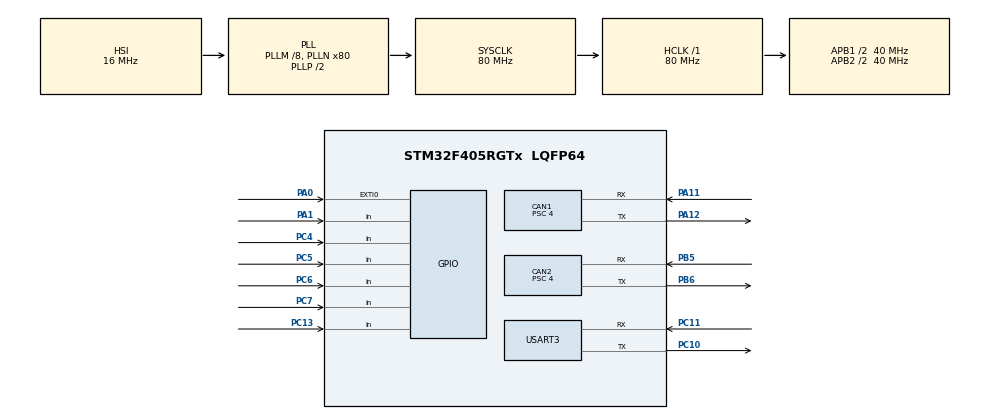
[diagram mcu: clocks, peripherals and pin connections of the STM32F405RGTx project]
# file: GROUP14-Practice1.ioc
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CAN1.BS1=CAN_BS1_11TQ
CAN1.BS2=CAN_BS2_4TQ
CAN1.CalculateBaudRate=625000
CAN1.CalculateTimeBit=1600
CAN1.CalculateTimeQuantum=100.0
CAN1.Prescaler=4
CAN2.BS1=CAN_BS1_15TQ
CAN2.BS2=CAN_BS2_4TQ
CAN2.CalculateBaudRate=500000
CAN2.CalculateTimeBit=2000
CAN2.CalculateTimeQuantum=100.0
CAN2.Prescaler=4
Mcu.Family=STM32F4
Mcu.Name=STM32F405RGTx
Mcu.Package=LQFP64
NVIC.CAN1_RX0_IRQn=true\:2\:0\:true\:false\:true\:true\:true\:true
NVIC.CAN2_RX0_IRQn=true\:2\:0\:true\:false\:true\:true\:true\:true
NVIC.EXTI0_IRQn=true\:1\:0\:true\:false\:true\:true\:true\:true
NVIC.PriorityGroup=NVIC_PRIORITYGROUP_4
NVIC.USART3_IRQn=true\:1\:0\:true\:false\:true\:true\:true\:true
PA0-WKUP.GPIO_ModeDefaultEXTI=GPIO_MODE_IT_FALLING
PA0-WKUP.GPIO_PuPd=GPIO_PULLUP
PA0-WKUP.Signal=GPXTI0
PA1.GPIO_PuPd=GPIO_PULLUP
PA1.Signal=GPIO_Input
PA11.Mode=CAN_Activate
PA11.Signal=CAN1_RX
PA12.Mode=CAN_Activate
PA12.Signal=CAN1_TX
PB5.Mode=CAN_Activate
PB5.Signal=CAN2_RX
PB6.Mode=CAN_Activate
PB6.Signal=CAN2_TX
PC10.Mode=Asynchronous
PC10.Signal=USART3_TX
PC11.Mode=Asynchronous
PC11.Signal=USART3_RX
PC13-ANTI_TAMP.GPIO_PuPd=GPIO_PULLUP
PC13-ANTI_TAMP.Signal=GPIO_Input
PC4.GPIO_PuPd=GPIO_PULLUP
PC4.Signal=GPIO_Input
PC5.GPIO_PuPd=GPIO_PULLUP
PC5.Signal=GPIO_Input
PC6.GPIO_PuPd=GPIO_PULLUP
PC6.Signal=GPIO_Input
PC7.GPIO_PuPd=GPIO_PULLUP
PC7.Signal=GPIO_Input
PH0-OSC_IN.Mode=HSE-External-Oscillator
PH0-OSC_IN.Signal=RCC_OSC_IN
PH1-OSC_OUT.Mode=HSE-External-Oscillator
PH1-OSC_OUT.Signal=RCC_OSC_OUT
ProjectManager.HeapSize=0x200
ProjectManager.StackSize=0x400
ProjectManager.TargetToolchain=STM32CubeIDE
RCC.48MHZClocksFreq_Value=40000000
RCC.AHBFreq_Value=80000000
RCC.APB1CLKDivider=RCC_HCLK_DIV2
RCC.APB1Freq_Value=40000000
RCC.APB1TimFreq_Value=80000000
RCC.APB2CLKDivider=RCC_HCLK_DIV2
RCC.APB2Freq_Value=40000000
RCC.APB2TimFreq_Value=80000000
RCC.CortexFreq_Value=80000000
RCC.HCLKFreq_Value=80000000
RCC.HSE_VALUE=8000000
RCC.HSI_VALUE=16000000
RCC.LSE_VALUE=32768
RCC.PLLM=8
RCC.PLLN=80
RCC.SYSCLKFreq_VALUE=80000000
RCC.SYSCLKSource=RCC_SYSCLKSOURCE_PLLCLK
RCC.VCOOutputFreq_Value=160000000
USART3.VirtualMode=VM_ASYNC
board=custom

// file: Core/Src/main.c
/* USER CODE BEGIN Header */
/**
  ******************************************************************************
  * @file           : main.c
  * @brief          : Main program body
  ******************************************************************************
  * @attention
  *
  * Copyright (c) 2023 STMicroelectronics.
  * All rights reserved.
  *
  * This software is licensed under terms that can be found in the LICENSE file
  * in the root directory of this software component.
  * If no LICENSE file comes with this software, it is provided AS-IS.
  *
  ******************************************************************************
  */
/* USER CODE END Header */
#include "main.h"

/* USER CODE BEGIN Includes */
#include "stm32f4xx_it.h"
/* USER CODE END Includes */

CAN_HandleTypeDef hcan1;
CAN_HandleTypeDef hcan2;

UART_HandleTypeDef huart3;

/* USER CODE BEGIN PV */
uint8_t uart3_receive;

CAN_HandleTypeDef hcan1;
CAN_HandleTypeDef hcan2;
CAN_TxHeaderTypeDef CAN1_pHeader;
CAN_RxHeaderTypeDef CAN1_pHeaderRx;
CAN_FilterTypeDef CAN1_sFilterConfig;
CAN_TxHeaderTypeDef CAN2_pHeader;
CAN_RxHeaderTypeDef CAN2_pHeaderRx;
CAN_FilterTypeDef CAN2_sFilterConfig;
uint32_t CAN1_pTxMailbox;
uint32_t CAN2_pTxMailbox;

uint16_t NumBytesReq = 0;
uint8_t  REQ_BUFFER  [4096];
uint8_t  REQ_1BYTE_DATA;

uint8_t CAN1_DATA_TX[8] = {0x00,0x00,0x00,0x00,0x00,0x00,0x00,0x00};
uint8_t CAN1_DATA_RX[8] = {0x00,0x00,0x00,0x00,0x00,0x00,0x00,0x00};
uint8_t CAN2_DATA_TX[8] = {0x00,0x00,0x00,0x00,0x00,0x00,0x00,0x00};
uint8_t CAN2_DATA_RX[8] = {0x00,0x00,0x00,0x00,0x00,0x00,0x00,0x00};

uint16_t Num_Consecutive_Tester;
uint8_t  Flg_Consecutive = 0;

uint8_t MsgCounter = 0;
uint8_t CRC_Wrong_Flag = 0;

unsigned int TimeStamp;
// maximum characters send out via UART is 30
char bufsend[30]="XXX: D1 D2 D3 D4 D5 D6 D7 D8  ";
/* USER CODE END PV */

void SystemClock_Config(void);
static void MX_GPIO_Init(void);
static void MX_CAN1_Init(void);
static void MX_CAN2_Init(void);
static void MX_USART3_UART_Init(void);
/* USER CODE BEGIN PFP */
void MX_CAN1_Setup();
void MX_CAN2_Setup();
void USART3_SendString(uint8_t *ch);
void PrintCANLog(uint16_t CANID, uint8_t * CAN_Frame);
void SID_22_Practice();
void SID_2E_Practice();
void SID_27_Practice();
void delay(uint16_t delay);
/* USER CODE END PFP */

/* USER CODE BEGIN 0 */
#include <stdio.h>
/* USER CODE END 0 */

int main(void)
{

  /* USER CODE BEGIN 1 */
	uint16_t i,j = 0;
	uint16_t Consecutive_Cntr = 0;
  /* USER CODE END 1 */

  /* MCU Configuration--------------------------------------------------------*/

  /* Reset of all peripherals, Initializes the Flash interface and the Systick. */
  HAL_Init();

  /* Configure the system clock */
  SystemClock_Config();

  /* Initialize all configured peripherals */
  MX_GPIO_Init();
  MX_CAN1_Init();
  MX_CAN2_Init();
  MX_USART3_UART_Init();
  /* USER CODE BEGIN 2 */
  MX_CAN1_Setup();
  MX_CAN2_Setup();
  __HAL_UART_ENABLE_IT(&huart3, UART_IT_RXNE);

  /* USER CODE END 2 */

  /* Infinite loop */
  /* USER CODE BEGIN WHILE */
  // Example Function to print can message via uart
//  PrintCANLog(CAN1_pHeader.StdId, &CAN1_DATA_TX[0]);

  while (1)
  {
    /* USER CODE END WHILE */

    /* USER CODE BEGIN 3 */

	CAN1_Send_Message();
	HAL_Delay(500);

	CAN2_Send_Message();
	HAL_Delay(4000);

    if(!BtnU) /*IG OFF->ON stimulation*/
    {
      delay(20);
      USART3_SendString((uint8_t *)"IG OFF ");
      int8_t crc_error_data[8] = {0xFF, 0xFF, 0xFF, 0xFF, 0xFF, 0xFF, 0xFF, 0xFF}; // Example incorrect data
      USART3_SendString((uint8_t *)"CAN1 TX: ");
      PrintCANLog(CAN1_pHeader.StdId, crc_error_data);
	  // Send message 0x12 with incorrect data
	  HAL_CAN_AddTxMessage(&hcan1, &CAN1_pHeader, crc_error_data, &CAN1_pTxMailbox);

      CheckForMissingMessage();
      while(!BtnU);
      MX_CAN1_Setup();
      MX_CAN2_Setup();
      USART3_SendString((uint8_t *)"-> IG ON \n");
      delay(20);
    }
  }

  memset(&REQ_BUFFER,0x00,4096);
  NumBytesReq = 0;

  /* USER CODE END 3 */
}

void SystemClock_Config(void)
{
  RCC_OscInitTypeDef RCC_OscInitStruct = {0};
  RCC_ClkInitTypeDef RCC_ClkInitStruct = {0};

  /** Configure the main internal regulator output voltage
  */
  __HAL_RCC_PWR_CLK_ENABLE();
  __HAL_PWR_VOLTAGESCALING_CONFIG(PWR_REGULATOR_VOLTAGE_SCALE1);

  /** Initializes the RCC Oscillators according to the specified parameters
  * in the RCC_OscInitTypeDef structure.
  */
  RCC_OscInitStruct.OscillatorType = RCC_OSCILLATORTYPE_HSI;
  RCC_OscInitStruct.HSIState = RCC_HSI_ON;
  RCC_OscInitStruct.HSICalibrationValue = RCC_HSICALIBRATION_DEFAULT;
  RCC_OscInitStruct.PLL.PLLState = RCC_PLL_ON;
  RCC_OscInitStruct.PLL.PLLSource = RCC_PLLSOURCE_HSI;
  RCC_OscInitStruct.PLL.PLLM = 8;
  RCC_OscInitStruct.PLL.PLLN = 80;
  RCC_OscInitStruct.PLL.PLLP = RCC_PLLP_DIV2;
  RCC_OscInitStruct.PLL.PLLQ = 4;
  if (HAL_RCC_OscConfig(&RCC_OscInitStruct) != HAL_OK)
  {
    Error_Handler();
  }

  /** Initializes the CPU, AHB and APB buses clocks
  */
  RCC_ClkInitStruct.ClockType = RCC_CLOCKTYPE_HCLK|RCC_CLOCKTYPE_SYSCLK
                              |RCC_CLOCKTYPE_PCLK1|RCC_CLOCKTYPE_PCLK2;
  RCC_ClkInitStruct.SYSCLKSource = RCC_SYSCLKSOURCE_PLLCLK;
  RCC_ClkInitStruct.AHBCLKDivider = RCC_SYSCLK_DIV1;
  RCC_ClkInitStruct.APB1CLKDivider = RCC_HCLK_DIV2;
  RCC_ClkInitStruct.APB2CLKDivider = RCC_HCLK_DIV2;

  if (HAL_RCC_ClockConfig(&RCC_ClkInitStruct, FLASH_LATENCY_2) != HAL_OK)
  {
    Error_Handler();
  }
}

static void MX_CAN1_Init(void)
{

  hcan1.Instance = CAN1;
  hcan1.Init.Prescaler = 21;
  hcan1.Init.Mode = CAN_MODE_NORMAL;
  hcan1.Init.SyncJumpWidth = CAN_SJW_1TQ;
  hcan1.Init.TimeSeg1 = CAN_BS1_12TQ;
  hcan1.Init.TimeSeg2 = CAN_BS2_4TQ;
  hcan1.Init.TimeTriggeredMode = DISABLE;
  hcan1.Init.AutoBusOff = DISABLE;
  hcan1.Init.AutoWakeUp = DISABLE;
  hcan1.Init.AutoRetransmission = DISABLE;
  hcan1.Init.ReceiveFifoLocked = DISABLE;
  hcan1.Init.TransmitFifoPriority = DISABLE;
  if (HAL_CAN_Init(&hcan1) != HAL_OK)
  {
    Error_Handler();
  }
  /* USER CODE BEGIN CAN1_Init 2 */
  //Config header CAN1
  CAN1_pHeader.DLC = 8;
  CAN1_pHeader.ExtId = 0;
  CAN1_pHeader.RTR = CAN_RTR_DATA;
  CAN1_pHeader.IDE = CAN_ID_STD;
  CAN1_pHeader.StdId = 0x012;
  CAN1_pHeader.TransmitGlobalTime = ENABLE;

  //Config filter CAN1
  CAN1_sFilterConfig.FilterActivation = CAN_FILTER_ENABLE;
  CAN1_sFilterConfig.FilterBank = 1;
  CAN1_sFilterConfig.FilterFIFOAssignment = CAN_FILTER_FIFO0;
  CAN1_sFilterConfig.FilterIdHigh = 0x012 << 5;
  CAN1_sFilterConfig.FilterIdLow = 0x0000;
  CAN1_sFilterConfig.FilterMaskIdHigh = 0;//0x0A2 << 5;
  CAN1_sFilterConfig.FilterMaskIdLow = 0x0000;
  CAN1_sFilterConfig.FilterScale = CAN_FILTERSCALE_32BIT;
  CAN1_sFilterConfig.FilterMode = CAN_FILTERMODE_IDMASK;
  CAN1_sFilterConfig.SlaveStartFilterBank = 14;
  HAL_CAN_ConfigFilter(&hcan1, &CAN1_sFilterConfig);

  /* USER CODE END CAN1_Init 2 */

}

static void MX_CAN2_Init(void)
{

	hcan2.Instance = CAN2;
	hcan2.Init.Prescaler = 21;
	hcan2.Init.Mode = CAN_MODE_NORMAL;
	hcan2.Init.SyncJumpWidth = CAN_SJW_1TQ;
	hcan2.Init.TimeSeg1 = CAN_BS1_12TQ;
	hcan2.Init.TimeSeg2 = CAN_BS2_4TQ;
	hcan2.Init.TimeTriggeredMode = DISABLE;
	hcan2.Init.AutoBusOff = DISABLE;
	hcan2.Init.AutoWakeUp = DISABLE;
	hcan2.Init.AutoRetransmission = DISABLE;
	hcan2.Init.ReceiveFifoLocked = DISABLE;
	hcan2.Init.TransmitFifoPriority = DISABLE;
  if (HAL_CAN_Init(&hcan2) != HAL_OK)
  {
    Error_Handler();
  }
  /* USER CODE BEGIN CAN2_Init 2 */
     //Config header CAN2
     CAN2_pHeader.DLC = 8;
     CAN2_pHeader.ExtId = 0;
     CAN2_pHeader.RTR = CAN_RTR_DATA;
     CAN2_pHeader.IDE = CAN_ID_STD;
     CAN2_pHeader.StdId = 0x0A2;
     CAN2_pHeader.TransmitGlobalTime = ENABLE;

     //Config filter CAN2
     CAN2_sFilterConfig.FilterActivation = CAN_FILTER_ENABLE;
     CAN2_sFilterConfig.FilterBank = 14;
     CAN2_sFilterConfig.FilterFIFOAssignment = CAN_FILTER_FIFO0;
     CAN2_sFilterConfig.FilterIdHigh = 0x0A2 << 5;
     CAN2_sFilterConfig.FilterIdLow = 0x0000;
     CAN2_sFilterConfig.FilterMaskIdHigh = 0;//0x012 << 5;
     CAN2_sFilterConfig.FilterMaskIdLow = 0x0000;
     CAN2_sFilterConfig.FilterScale = CAN_FILTERSCALE_32BIT;
     CAN2_sFilterConfig.FilterMode = CAN_FILTERMODE_IDMASK;
     CAN2_sFilterConfig.SlaveStartFilterBank = 14;
     HAL_CAN_ConfigFilter(&hcan2, &CAN2_sFilterConfig);

  /* USER CODE END CAN2_Init 2 */

}

static void MX_USART3_UART_Init(void)
{

  huart3.Instance = USART3;
  huart3.Init.BaudRate = 115200;
  huart3.Init.WordLength = UART_WORDLENGTH_8B;
  huart3.Init.StopBits = UART_STOPBITS_1;
  huart3.Init.Parity = UART_PARITY_NONE;
  huart3.Init.Mode = UART_MODE_TX_RX;
  huart3.Init.HwFlowCtl = UART_HWCONTROL_NONE;
  huart3.Init.OverSampling = UART_OVERSAMPLING_16;
  if (HAL_UART_Init(&huart3) != HAL_OK)
  {
    Error_Handler();
  }

}

static void MX_GPIO_Init(void)
{
  GPIO_InitTypeDef GPIO_InitStruct = {0};

  /* GPIO Ports Clock Enable */
  __HAL_RCC_GPIOC_CLK_ENABLE();
  __HAL_RCC_GPIOH_CLK_ENABLE();
  __HAL_RCC_GPIOA_CLK_ENABLE();
  __HAL_RCC_GPIOB_CLK_ENABLE();

  /*Configure GPIO pins : PC13 PC4 PC5 PC6
                           PC7 */
  GPIO_InitStruct.Pin = GPIO_PIN_13|GPIO_PIN_4|GPIO_PIN_5|GPIO_PIN_6
                          |GPIO_PIN_7;
  GPIO_InitStruct.Mode = GPIO_MODE_INPUT;
  GPIO_InitStruct.Pull = GPIO_PULLUP;
  HAL_GPIO_Init(GPIOC, &GPIO_InitStruct);

  /*Configure GPIO pin : PA0 */
  GPIO_InitStruct.Pin = GPIO_PIN_0;
  GPIO_InitStruct.Mode = GPIO_MODE_IT_FALLING;
  GPIO_InitStruct.Pull = GPIO_PULLUP;
  HAL_GPIO_Init(GPIOA, &GPIO_InitStruct);

  /*Configure GPIO pin : PA1 */
  GPIO_InitStruct.Pin = GPIO_PIN_1;
  GPIO_InitStruct.Mode = GPIO_MODE_INPUT;
  GPIO_InitStruct.Pull = GPIO_PULLUP;
  HAL_GPIO_Init(GPIOA, &GPIO_InitStruct);

  /* EXTI interrupt init*/
  HAL_NVIC_SetPriority(EXTI0_IRQn, 1, 0);
  HAL_NVIC_EnableIRQ(EXTI0_IRQn);

}

/* USER CODE BEGIN 4 */

void MX_CAN1_Setup()
{
	HAL_CAN_ConfigFilter(&hcan1, &CAN1_sFilterConfig);
	HAL_CAN_Start(&hcan1);
	HAL_CAN_ActivateNotification(&hcan1, CAN_IT_RX_FIFO0_MSG_PENDING);

}
void MX_CAN2_Setup()
{
	HAL_CAN_ConfigFilter(&hcan2, &CAN2_sFilterConfig);
	HAL_CAN_Start(&hcan2);
	HAL_CAN_ActivateNotification(&hcan2, CAN_IT_RX_FIFO0_MSG_PENDING);

}

void USART3_SendString(uint8_t *ch)
{
   while(*ch!=0)
   {
      HAL_UART_Transmit(&huart3, ch, 1,HAL_MAX_DELAY);
      ch++;
   }
}
void PrintCANLog(uint16_t CANID, uint8_t * CAN_Frame)
{
	uint16_t loopIndx = 0;
	char bufID[3] = "   ";
	char bufDat[2] = "  ";
	char bufTime [8]="        ";

	sprintf(bufTime,"%d",TimeStamp);
	USART3_SendString((uint8_t*)bufTime);
	USART3_SendString((uint8_t*)" ");

	sprintf(bufID,"%03X",CANID);
	for(loopIndx = 0; loopIndx < 3; loopIndx ++)
	{
		bufsend[loopIndx]  = bufID[loopIndx];
	}
	bufsend[3] = ':';
	bufsend[4] = ' ';

	for(loopIndx = 0; loopIndx < 8; loopIndx ++ )
	{
		sprintf(bufDat,"%02X",CAN_Frame[loopIndx]);
		bufsend[loopIndx*3 + 5] = bufDat[0];
		bufsend[loopIndx*3 + 6] = bufDat[1];
		bufsend[loopIndx*3 + 7] = ' ';
	}
	bufsend[29] = '\n';
	USART3_SendString((unsigned char*)bufsend);
}
void HAL_UART_RxCpltCallback(UART_HandleTypeDef *huart)
{
	REQ_BUFFER[NumBytesReq] = REQ_1BYTE_DATA;
	NumBytesReq++;
	//REQ_BUFFER[7] = NumBytesReq;
}
void delay(uint16_t delay)
{
	HAL_Delay(delay);
}

uint8_t crc8(uint8_t *data, uint8_t len) {
    uint8_t crc = 0xFF; //  First value of CRC-8 SAE J1850

    for (uint8_t i = 0; i < len; i++) {
        crc ^= data[i];
        for (uint8_t j = 0; j < 8; j++) {
            if (crc & 0x80) {
                crc = (crc << 1) ^ 0x1D;
            } else {
                crc <<= 1;
            }
        }
    }
    return crc;
}

void CAN1_Send_Message() {
    CAN1_DATA_TX[0] = 0x00;  // byte 0
    CAN1_DATA_TX[1] = 0x12;  // byte 1
    CAN1_DATA_TX[6] = MsgCounter & 0x0F;  // Message counter

    CAN1_DATA_TX[7] = crc8(CAN1_DATA_TX, 7); // check sum

    USART3_SendString((uint8_t *)"CAN1 TX: ");
    PrintCANLog(CAN1_pHeader.StdId, CAN1_DATA_TX);

    HAL_CAN_AddTxMessage(&hcan1, &CAN1_pHeader, CAN1_DATA_TX, &CAN1_pTxMailbox);

//    MsgCounter++;
}

void CAN2_Send_Message() {
    CAN2_DATA_TX[0] = 0x00;  //byte 0
    CAN2_DATA_TX[1] = 0xA2;  //byte 1
    CAN2_DATA_TX[2] = CAN2_DATA_TX[0] + CAN2_DATA_TX[1]; //byte2 = byte1 + byte0
    CAN2_DATA_TX[6] = MsgCounter & 0x0F;  //Message counter

    CAN2_DATA_TX[7] = crc8(CAN2_DATA_TX, 7); // check sum

    USART3_SendString((uint8_t *)"CAN2 TX: ");
    PrintCANLog(CAN2_pHeader.StdId, CAN2_DATA_TX);

    HAL_CAN_AddTxMessage(&hcan2, &CAN2_pHeader, CAN2_DATA_TX, &CAN2_pTxMailbox);

    MsgCounter++;
}

static uint32_t message_0x12_received = 0;

void HAL_CAN_RxFifo0MsgPendingCallBack(CAN_HandleTypeDef *hcan){

	if (hcan == &hcan2){
		if(HAL_CAN_GetRxMessage(hcan, CAN_RX_FIFO0, &CAN2_pHeaderRx, CAN2_DATA_RX) != HAL_OK){
			message_0x12_received = 1;
		}
		USART3_SendString((uint8_t *)"CAN2 RX: ");
		PrintCANLog(CAN1_pHeader.StdId, CAN2_DATA_RX);

	}
	else if(hcan == &hcan1){
		if(HAL_CAN_GetRxMessage(hcan, CAN_RX_FIFO0, &CAN1_pHeaderRx, CAN1_DATA_RX) != HAL_OK){
			Error_Handler();
		}
		USART3_SendString((uint8_t *)"CAN1 RX: ");
		PrintCANLog(CAN2_pHeader.StdId, CAN1_DATA_RX);
	}
}
void CheckForMissingMessage() {
    static uint32_t last_check_time = 0;
    uint32_t current_time = HAL_GetTick();

    if (current_time - last_check_time > 1000) { // Check every 1 second
        if (!message_0x12_received) {
            // Message 0x12 was not received, send message 0xA2
        	CAN2_DATA_TX[0] = 0x00;
        	            CAN2_DATA_TX[1] = 0x00;
        	            CAN2_DATA_TX[2] = 0x00;
        	            CAN2_DATA_TX[3] = 0x00;
        	            CAN2_DATA_TX[4] = 0x00;
        	            CAN2_DATA_TX[5] = 0x00;
        	            CAN2_DATA_TX[6] = MsgCounter & 0x0F;
        	            CAN2_DATA_TX[7] = crc8(CAN2_DATA_TX, 7);

        	USART3_SendString((uint8_t *)"\nWRONG CRC\n");
        	USART3_SendString((uint8_t *)"CAN2 TX: ");
        	PrintCANLog(CAN2_pHeader.StdId, CAN2_DATA_TX);
            HAL_CAN_AddTxMessage(&hcan2, &CAN2_pHeader, CAN2_DATA_TX, &CAN2_pTxMailbox);
        }
        message_0x12_received = 0; // Reset flag for next check
        last_check_time = current_time;
    }
}
/* USER CODE END 4 */

void Error_Handler(void)
{
  __disable_irq();
  while (1)
  {
  }
}
